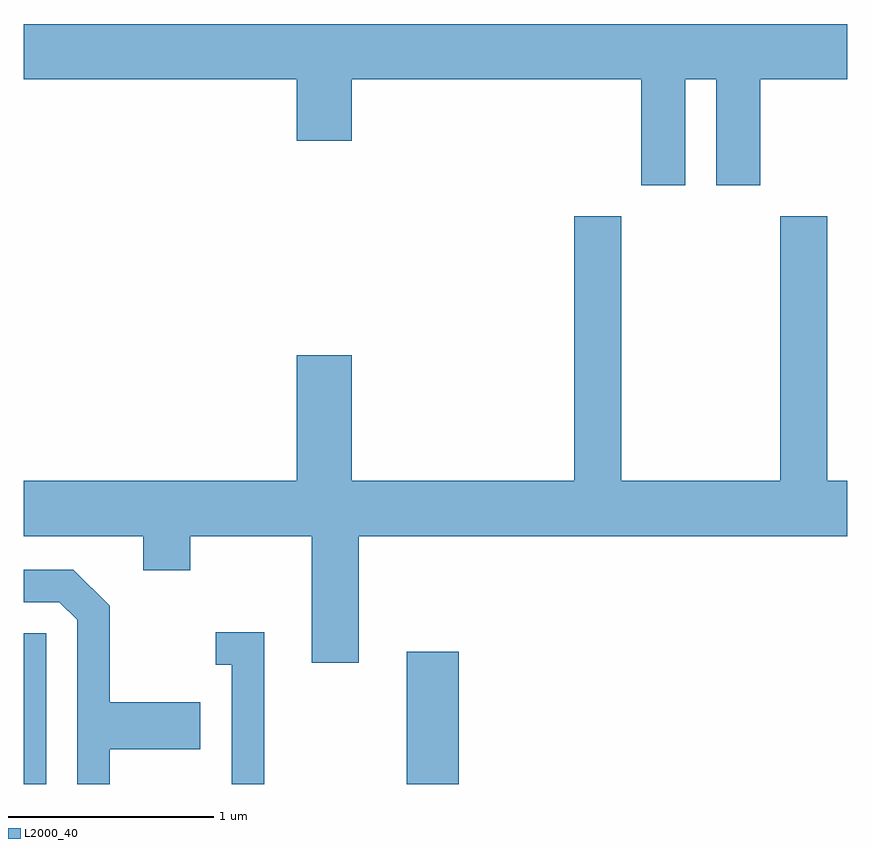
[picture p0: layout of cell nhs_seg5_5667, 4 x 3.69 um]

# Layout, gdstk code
import gdstk
lib = gdstk.Library(unit=1e-6, precision=1e-09)
def R(c, l, rs):  # rectangles x0, y0, x1, y1
    for r in rs: c.add(gdstk.rectangle(r[:2], r[2:], *l))
def P(c, l, *ps):  # polygons
    for p in ps: c.add(gdstk.Polygon(p, *l))
L2000_40 = (2000, 40)

nhs_seg5_5667 = lib.new_cell('nhs_seg5_5667')
R(nhs_seg5_5667, L2000_40, [(353.611,1420.072,353.719,1420.804), (355.471,1420.072,355.724,1420.714)])
P(nhs_seg5_5667, L2000_40, [(356.824,1423.496),(356.976,1423.496),(356.976,1422.981),(357.189,1422.981),(357.189,1423.496),(357.611,1423.496),(357.611,1423.764),(353.611,1423.764),(353.611,1423.496),(354.936,1423.496),(354.936,1423.196),(355.204,1423.196),(355.204,1423.496),(356.611,1423.496),(356.611,1422.981),(356.824,1422.981)],
  [(355.239,1421.276),(357.611,1421.276),(357.611,1421.544),(357.514,1421.544),(357.514,1422.829),(357.286,1422.829),(357.286,1421.544),(356.514,1421.544),(356.514,1422.829),(356.286,1422.829),(356.286,1421.544),(355.204,1421.544),(355.204,1422.154),(354.936,1422.154),(354.936,1421.544),(353.611,1421.544),(353.611,1421.276),(354.191,1421.276),(354.191,1421.111),(354.419,1421.111),(354.419,1421.276),(355.011,1421.276),(355.011,1420.661),(355.239,1420.661)],
  [(354.029,1420.241),(354.469,1420.241),(354.469,1420.469),(354.029,1420.469),(354.029,1420.937),(353.852,1421.114),(353.611,1421.114),(353.611,1420.956),(353.784,1420.956),(353.871,1420.869),(353.871,1420.072),(354.029,1420.072)],
  [(354.779,1420.809),(354.543,1420.809),(354.543,1420.651),(354.621,1420.651),(354.621,1420.072),(354.779,1420.072)])

lib.write_gds('nhs_seg5_5667.gds')
